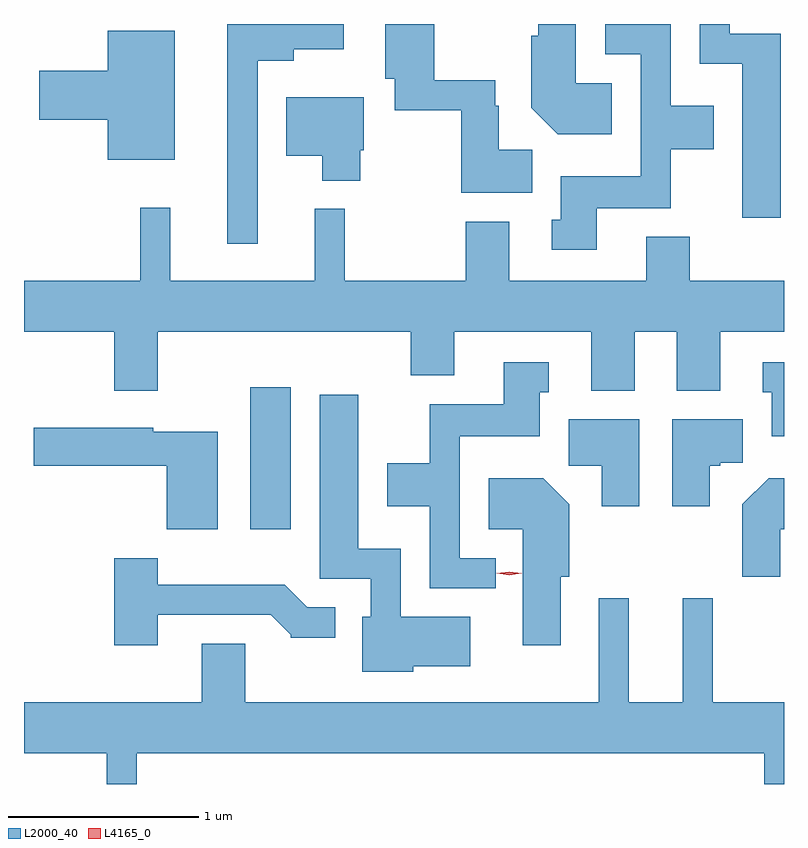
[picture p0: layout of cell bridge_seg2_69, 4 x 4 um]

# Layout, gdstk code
import gdstk
lib = gdstk.Library(unit=1e-6, precision=1e-09)
def R(c, l, rs):  # rectangles x0, y0, x1, y1
    for r in rs: c.add(gdstk.rectangle(r[:2], r[2:], *l))
def P(c, l, *ps):  # polygons
    for p in ps: c.add(gdstk.Polygon(p, *l))
L2000_40 = (2000, 40)
L4165_0 = (4165, 0)

bridge_seg2_69 = lib.new_cell('bridge_seg2_69')
R(bridge_seg2_69, L2000_40, [(1128.826,1098.336,1129.039,1099.084)])
P(bridge_seg2_69, L2000_40, [(1130.309,1100.334),(1130.134,1100.334),(1130.134,1100.564),(1130.114,1100.564),(1130.114,1100.699),(1129.794,1100.699),(1129.794,1100.995),(1129.536,1100.995),(1129.536,1100.706),(1129.586,1100.706),(1129.586,1100.541),(1129.936,1100.541),(1129.936,1100.106),(1130.309,1100.106)],
  [(1128.864,1100.801),(1129.054,1100.801),(1129.054,1100.861),(1129.319,1100.861),(1129.319,1100.995),(1128.706,1100.995),(1128.706,1099.838),(1128.864,1099.838)],
  [(1131.619,1100.944),(1131.349,1100.944),(1131.349,1100.995),(1131.191,1100.995),(1131.191,1100.786),(1131.416,1100.786),(1131.416,1099.976),(1131.619,1099.976)],
  [(1130.729,1100.684),(1130.539,1100.684),(1130.539,1100.995),(1130.341,1100.995),(1130.341,1100.934),(1130.306,1100.934),(1130.306,1100.554),(1130.444,1100.416),(1130.729,1100.416)],
  [(1130.649,1100.026),(1131.039,1100.026),(1131.039,1100.336),(1131.264,1100.336),(1131.264,1100.564),(1131.039,1100.564),(1131.039,1100.994),(1130.693,1100.994),(1130.693,1100.836),(1130.881,1100.836),(1130.881,1100.194),(1130.461,1100.194),(1130.461,1099.964),(1130.413,1099.964),(1130.413,1099.806),(1130.649,1099.806)],
  [(1128.429,1100.959),(1128.076,1100.959),(1128.076,1100.749),(1127.716,1100.749),(1127.716,1100.491),(1128.076,1100.491),(1128.076,1100.281),(1128.429,1100.281)],
  [(1129.404,1100.331),(1129.424,1100.331),(1129.424,1100.609),(1129.016,1100.609),(1129.016,1100.301),(1129.206,1100.301),(1129.206,1100.171),(1129.404,1100.171)],
  [(1130.189,1099.954),(1129.961,1099.954),(1129.961,1099.644),(1129.324,1099.644),(1129.324,1100.023),(1129.166,1100.023),(1129.166,1099.644),(1128.404,1099.644),(1128.404,1100.028),(1128.246,1100.028),(1128.246,1099.644),(1127.635,1099.644),(1127.635,1099.376),(1128.111,1099.376),(1128.111,1099.066),(1128.339,1099.066),(1128.339,1099.376),(1129.671,1099.376),(1129.671,1099.146),(1129.899,1099.146),(1129.899,1099.376),(1130.621,1099.376),(1130.621,1099.066),(1130.849,1099.066),(1130.849,1099.376),(1131.071,1099.376),(1131.071,1099.066),(1131.299,1099.066),(1131.299,1099.376),(1131.635,1099.376),(1131.635,1099.644),(1131.139,1099.644),(1131.139,1099.874),(1130.911,1099.874),(1130.911,1099.644),(1130.189,1099.644)],
  [(1130.118,1098.184),(1129.929,1098.184),(1129.929,1098.826),(1130.349,1098.826),(1130.349,1099.056),(1130.398,1099.056),(1130.398,1099.214),(1130.161,1099.214),(1130.161,1098.994),(1129.771,1098.994),(1129.771,1098.684),(1129.546,1098.684),(1129.546,1098.456),(1129.771,1098.456),(1129.771,1098.026),(1130.118,1098.026)],
  [(1131.635,1099.214),(1131.523,1099.214),(1131.523,1099.056),(1131.571,1099.056),(1131.571,1098.826),(1131.635,1098.826)],
  [(1129.684,1097.616),(1129.984,1097.616),(1129.984,1097.874),(1129.619,1097.874),(1129.619,1098.234),(1129.394,1098.234),(1129.394,1099.044),(1129.191,1099.044),(1129.191,1098.076),(1129.461,1098.076),(1129.461,1097.874),(1129.416,1097.874),(1129.416,1097.586),(1129.684,1097.586)],
  [(1131.244,1098.671),(1131.3,1098.671),(1131.3,1098.686),(1131.419,1098.686),(1131.419,1098.914),(1131.046,1098.914),(1131.046,1098.456),(1131.244,1098.456)],
  [(1130.874,1098.914),(1130.501,1098.914),(1130.501,1098.671),(1130.676,1098.671),(1130.676,1098.456),(1130.874,1098.456)],
  [(1128.654,1098.849),(1128.314,1098.849),(1128.314,1098.869),(1127.686,1098.869),(1127.686,1098.671),(1128.386,1098.671),(1128.386,1098.336),(1128.654,1098.336)],
  [(1131.614,1098.336),(1131.635,1098.336),(1131.635,1098.604),(1131.554,1098.604),(1131.416,1098.467),(1131.416,1098.086),(1131.614,1098.086)],
  [(1130.459,1098.086),(1130.504,1098.086),(1130.504,1098.467),(1130.367,1098.604),(1130.081,1098.604),(1130.081,1098.336),(1130.261,1098.336),(1130.261,1097.726),(1130.459,1097.726)],
  [(1128.339,1097.886),(1128.934,1097.886),(1129.04,1097.78),(1129.04,1097.766),(1129.273,1097.766),(1129.273,1097.924),(1129.127,1097.924),(1129.007,1098.044),(1128.339,1098.044),(1128.339,1098.184),(1128.111,1098.184),(1128.111,1097.726),(1128.339,1097.726)],
  [(1128.229,1097.156),(1131.531,1097.156),(1131.531,1096.995),(1131.635,1096.995),(1131.635,1097.424),(1131.259,1097.424),(1131.259,1097.973),(1131.101,1097.973),(1131.101,1097.424),(1130.819,1097.424),(1130.819,1097.973),(1130.661,1097.973),(1130.661,1097.424),(1128.799,1097.424),(1128.799,1097.734),(1128.571,1097.734),(1128.571,1097.424),(1127.635,1097.424),(1127.635,1097.156),(1128.071,1097.156),(1128.071,1096.995),(1128.229,1096.995)])
P(bridge_seg2_69, L4165_0, [(1130.188,1098.093),(1130.122,1098.103),(1130.122,1098.103),(1130.122,1098.104),(1130.188,1098.113),(1130.254,1098.104),(1130.255,1098.103),(1130.254,1098.103)])

lib.write_gds('bridge_seg2_69.gds')
